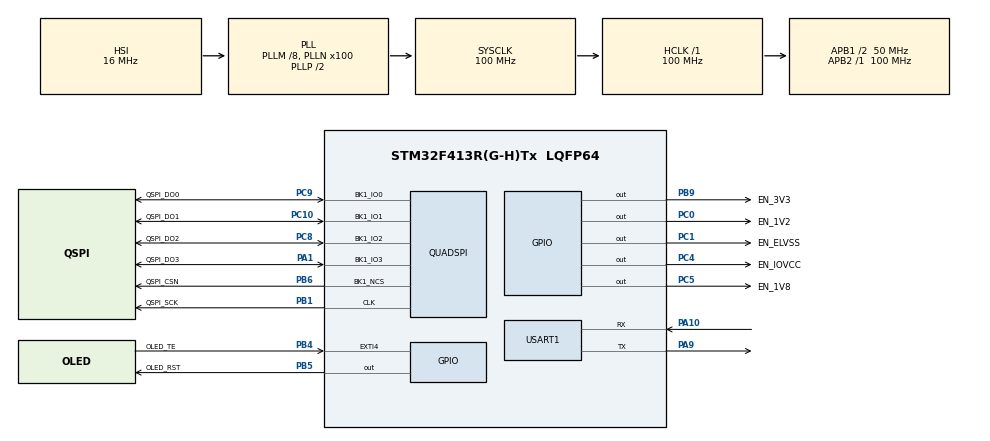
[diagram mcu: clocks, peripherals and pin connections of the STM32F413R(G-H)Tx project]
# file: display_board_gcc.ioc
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Dma.QUADSPI.0.Direction=DMA_MEMORY_TO_PERIPH
Dma.QUADSPI.0.FIFOMode=DMA_FIFOMODE_ENABLE
Dma.QUADSPI.0.FIFOThreshold=DMA_FIFO_THRESHOLD_HALFFULL
Dma.QUADSPI.0.Instance=DMA2_Stream7
Dma.QUADSPI.0.MemBurst=DMA_MBURST_INC4
Dma.QUADSPI.0.MemDataAlignment=DMA_MDATAALIGN_BYTE
Dma.QUADSPI.0.MemInc=DMA_MINC_ENABLE
Dma.QUADSPI.0.Mode=DMA_NORMAL
Dma.QUADSPI.0.PeriphBurst=DMA_PBURST_INC4
Dma.QUADSPI.0.PeriphDataAlignment=DMA_PDATAALIGN_BYTE
Dma.QUADSPI.0.PeriphInc=DMA_PINC_DISABLE
Dma.QUADSPI.0.Priority=DMA_PRIORITY_HIGH
Dma.Request0=QUADSPI
Dma.Request1=USART1_RX
Dma.USART1_RX.1.Direction=DMA_PERIPH_TO_MEMORY
Dma.USART1_RX.1.FIFOMode=DMA_FIFOMODE_DISABLE
Dma.USART1_RX.1.Instance=DMA2_Stream2
Dma.USART1_RX.1.MemDataAlignment=DMA_MDATAALIGN_BYTE
Dma.USART1_RX.1.MemInc=DMA_MINC_ENABLE
Dma.USART1_RX.1.Mode=DMA_CIRCULAR
Dma.USART1_RX.1.PeriphDataAlignment=DMA_PDATAALIGN_BYTE
Dma.USART1_RX.1.PeriphInc=DMA_PINC_DISABLE
Dma.USART1_RX.1.Priority=DMA_PRIORITY_HIGH
Mcu.Family=STM32F4
Mcu.Name=STM32F413R(G-H)Tx
Mcu.Package=LQFP64
NVIC.DMA2_Stream2_IRQn=true\:6\:0\:false\:false\:true\:false\:true\:true
NVIC.DMA2_Stream7_IRQn=true\:2\:0\:false\:false\:true\:false\:true\:true
NVIC.EXTI4_IRQn=true\:1\:0\:false\:false\:true\:true\:true\:true
NVIC.PriorityGroup=NVIC_PRIORITYGROUP_4
NVIC.QUADSPI_IRQn=true\:3\:0\:true\:false\:true\:true\:true\:true
NVIC.USART1_IRQn=true\:6\:0\:false\:false\:true\:true\:true\:true
PA1.GPIO_Label=QSPI_DO3
PA1.Mode=Single Bank 1
PA1.Signal=QUADSPI_BK1_IO3
PA10.Mode=Asynchronous
PA10.Signal=USART1_RX
PA13.Mode=Serial_Wire
PA13.Signal=SYS_JTMS-SWDIO
PA14.Mode=Serial_Wire
PA14.Signal=SYS_JTCK-SWCLK
PA9.Mode=Asynchronous
PA9.Signal=USART1_TX
PB1.GPIO_Label=QSPI_SCK
PB1.Mode=Single Bank 1
PB1.Signal=QUADSPI_CLK
PB4.GPIO_Label=OLED_TE
PB4.GPIO_ModeDefaultEXTI=GPIO_MODE_IT_RISING
PB4.GPIO_PuPd=GPIO_NOPULL
PB4.Signal=GPXTI4
PB5.GPIO_Label=OLED_RST
PB5.GPIO_ModeDefaultOutputPP=GPIO_MODE_OUTPUT_OD
PB5.GPIO_PuPd=GPIO_NOPULL
PB5.GPIO_Speed=GPIO_SPEED_FREQ_VERY_HIGH
PB5.PinState=GPIO_PIN_SET
PB5.Signal=GPIO_Output
PB6.GPIO_Label=QSPI_CSN
PB6.Mode=Single Bank 1
PB6.Signal=QUADSPI_BK1_NCS
PB9.GPIO_Label=EN_3V3
PB9.GPIO_ModeDefaultOutputPP=GPIO_MODE_OUTPUT_PP
PB9.GPIO_PuPd=GPIO_NOPULL
PB9.GPIO_Speed=GPIO_SPEED_FREQ_LOW
PB9.PinState=GPIO_PIN_RESET
PB9.Signal=GPIO_Output
PC0.GPIO_Label=EN_1V2
PC0.Signal=GPIO_Output
PC1.GPIO_Label=EN_ELVSS
PC1.Signal=GPIO_Output
PC10.GPIO_Label=QSPI_DO1
PC10.Mode=Single Bank 1
PC10.Signal=QUADSPI_BK1_IO1
PC4.GPIO_Label=EN_IOVCC
PC4.Signal=GPIO_Output
PC5.GPIO_Label=EN_1V8
PC5.GPIO_ModeDefaultOutputPP=GPIO_MODE_OUTPUT_PP
PC5.GPIO_PuPd=GPIO_NOPULL
PC5.GPIO_Speed=GPIO_SPEED_FREQ_LOW
PC5.PinState=GPIO_PIN_RESET
PC5.Signal=GPIO_Output
PC8.GPIO_Label=QSPI_DO2
PC8.Mode=Single Bank 1
PC8.Signal=QUADSPI_BK1_IO2
PC9.GPIO_Label=QSPI_DO0
PC9.Mode=Single Bank 1
PC9.Signal=QUADSPI_BK1_IO0
ProjectManager.HeapSize=0x200
ProjectManager.StackSize=0x400
ProjectManager.TargetToolchain=CMake
QUADSPI.ChipSelectHighTime=QSPI_CS_HIGH_TIME_8_CYCLE
QUADSPI.ClockPrescaler=1
QUADSPI.FifoThreshold=16
QUADSPI.FlashSize=24
QUADSPI.SampleShifting=QSPI_SAMPLE_SHIFTING_HALFCYCLE
RCC.AHBFreq_Value=100000000
RCC.APB1CLKDivider=RCC_HCLK_DIV2
RCC.APB1Freq_Value=50000000
RCC.APB1TimFreq_Value=100000000
RCC.APB2Freq_Value=100000000
RCC.APB2TimFreq_Value=100000000
RCC.CortexFreq_Value=100000000
RCC.HCLKFreq_Value=100000000
RCC.PLLM=8
RCC.PLLN=100
RCC.SYSCLKFreq_VALUE=100000000
RCC.SYSCLKSource=RCC_SYSCLKSOURCE_PLLCLK
RCC.USBFreq_Value=100000000
RCC.VCOOutputFreq_Value=200000000
USART1.VirtualMode=VM_ASYNC
board=custom

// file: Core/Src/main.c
/* USER CODE BEGIN Header */
/**
  ******************************************************************************
  * @file           : main.c
  * @brief          : Main program body
  ******************************************************************************
  * @attention
  *
  * Copyright (c) 2026 STMicroelectronics.
  * All rights reserved.
  *
  * This software is licensed under terms that can be found in the LICENSE file
  * in the root directory of this software component.
  * If no LICENSE file comes with this software, it is provided AS-IS.
  *
  ******************************************************************************
  */
/* USER CODE END Header */
#include "main.h"
#include "dma.h"
#include "quadspi.h"
#include "usart.h"
#include "gpio.h"

/* USER CODE BEGIN Includes */
#include "ka025vg_oled.h"
#include <string.h>

/* USER CODE END Includes */

/* USER CODE BEGIN PV */
/* DMA 环形接收缓冲：USART1_RX 经 DMA2_Stream2 循环写入，配合空闲中断分帧 */
#define RX_DMA_BUF_SIZE 256U
static uint8_t rx_dma_buf[RX_DMA_BUF_SIZE];
static volatile uint16_t rx_dma_old_pos;
extern DMA_HandleTypeDef hdma_usart1_rx;
/* USER CODE END PV */

void SystemClock_Config(void);

/* USER CODE BEGIN 0 */
#define PROTOCOL_HEAD1      0xA5U
#define PROTOCOL_HEAD2      0x5AU
#define PROTOCOL_TYPE_STATE 0x01U
#define PROTOCOL_PAYLOAD_LEN 37U // 1 (version) + 1 (all_on & brightness) + 27 (digits) + 8 (symbols)
#define PROTOCOL_FRAME_LEN  43U // 2 (head) + 1 (type) + 1 (seq) + 1 (len) + 37 (payload) + 1 (checksum)

static uint8_t rx_buf[PROTOCOL_FRAME_LEN * 2];
static uint16_t rx_len = 0;
static uint8_t parse_and_update_state(void)
{
  uint16_t i = 0;
  while ((rx_len - i) >= PROTOCOL_FRAME_LEN)
  {
    if ((rx_buf[i] == PROTOCOL_HEAD1) && (rx_buf[i+1] == PROTOCOL_HEAD2))
    {
      if (rx_buf[i+2] == PROTOCOL_TYPE_STATE)
      {
        uint8_t payload_len = rx_buf[i+4];
        if (payload_len == PROTOCOL_PAYLOAD_LEN)
        {
          uint8_t checksum = 0;
          for (uint16_t j = 2; j < PROTOCOL_FRAME_LEN - 1; ++j)
          {
            checksum += rx_buf[i + j];
          }
          if (checksum == rx_buf[i + PROTOCOL_FRAME_LEN - 1])
          {
            // 校验通过，提取数据
            uint8_t ctrl = rx_buf[i + 6];
            uint8_t all_on = ctrl & 0x01U;
            uint8_t brightness = (ctrl >> 4U) & 0x0FU;
            uint8_t digits[27];
            (void)memcpy(digits, &rx_buf[i + 7], 27);
            uint64_t symbols = 0;
            for (uint8_t s = 0; s < 8; ++s)
            {
              symbols |= ((uint64_t)rx_buf[i + 34 + s]) << (s * 8);
            }
            KA025VG_UpdateState(digits, symbols, all_on, brightness);

            // 移除已处理的帧及之前的所有无效字节
            rx_len -= (i + PROTOCOL_FRAME_LEN);
            (void)memmove(rx_buf, &rx_buf[i + PROTOCOL_FRAME_LEN], rx_len);
            return 1;
          }
        }
      }
      i++; // 校验和不正确或长度不对，滑动1字节继续寻找包头
    }
    else
    {
      i++;
    }
  }

  if (i > 0)
  {
    rx_len -= i;
    (void)memmove(rx_buf, &rx_buf[i], rx_len);
  }
  return 0;
}

/* 将一段新到字节追加进协议解析缓冲，溢出时丢弃最旧数据保证不死锁 */
static void rx_buf_push(const uint8_t *data, uint16_t length)
{
  for (uint16_t k = 0U; k < length; ++k)
  {
    if (rx_len >= sizeof(rx_buf))
    {
      /* 缓冲满：丢弃最旧 1 字节，滑窗继续，避免整帧因抖动卡死 */
      (void)memmove(rx_buf, &rx_buf[1], rx_len - 1U);
      rx_len--;
    }
    rx_buf[rx_len++] = data[k];
  }
}
/* USER CODE END 0 */

int main(void)
{

  /* MCU Configuration--------------------------------------------------------*/

  /* Reset of all peripherals, Initializes the Flash interface and the Systick. */
  HAL_Init();

  /* Configure the system clock */
  SystemClock_Config();

  /* Initialize all configured peripherals */
  MX_GPIO_Init();
  MX_DMA_Init();
  MX_QUADSPI_Init();
  MX_USART1_UART_Init();
  /* USER CODE BEGIN 2 */
  if (KA025VG_Init(&hqspi) != HAL_OK)
  {
    Error_Handler();
  }

  // 开机先显示全屏测试图案，确认 OLED 初始化和 QSPI 刷新正常
  if (KA025VG_ShowFixedScreen() != HAL_OK)
  {
    Error_Handler();
  }

  // 启动 DMA + 空闲中断接收：DMA 循环填充 rx_dma_buf，空闲/半满/满时触发 RxEventCallback
  rx_dma_old_pos = 0U;
  if (HAL_UARTEx_ReceiveToIdle_DMA(&huart1, rx_dma_buf, RX_DMA_BUF_SIZE) != HAL_OK)
  {
    Error_Handler();
  }
  /* 关闭 DMA 半传输中断，仅在空闲/满传输时处理，减少无谓回调 */
  __HAL_DMA_DISABLE_IT(&hdma_usart1_rx, DMA_IT_HT);
  /* USER CODE END 2 */

  /* Infinite loop */
  while (1)
  {

    /* USER CODE BEGIN 3 */
    if (parse_and_update_state())
    {
      KA025VG_RenderAndShow();
    }
    HAL_Delay(10U);
  }
  /* USER CODE END 3 */
}

void SystemClock_Config(void)
{
  RCC_OscInitTypeDef RCC_OscInitStruct = {0};
  RCC_ClkInitTypeDef RCC_ClkInitStruct = {0};

  /** Configure the main internal regulator output voltage
  */
  __HAL_RCC_PWR_CLK_ENABLE();
  __HAL_PWR_VOLTAGESCALING_CONFIG(PWR_REGULATOR_VOLTAGE_SCALE1);

  /** Initializes the RCC Oscillators according to the specified parameters
  * in the RCC_OscInitTypeDef structure.
  */
  RCC_OscInitStruct.OscillatorType = RCC_OSCILLATORTYPE_HSI;
  RCC_OscInitStruct.HSIState = RCC_HSI_ON;
  RCC_OscInitStruct.HSICalibrationValue = RCC_HSICALIBRATION_DEFAULT;
  RCC_OscInitStruct.PLL.PLLState = RCC_PLL_ON;
  RCC_OscInitStruct.PLL.PLLSource = RCC_PLLSOURCE_HSI;
  RCC_OscInitStruct.PLL.PLLM = 8;
  RCC_OscInitStruct.PLL.PLLN = 100;
  RCC_OscInitStruct.PLL.PLLP = RCC_PLLP_DIV2;
  RCC_OscInitStruct.PLL.PLLQ = 2;
  RCC_OscInitStruct.PLL.PLLR = 2;
  if (HAL_RCC_OscConfig(&RCC_OscInitStruct) != HAL_OK)
  {
    Error_Handler();
  }

  /** Initializes the CPU, AHB and APB buses clocks
  */
  RCC_ClkInitStruct.ClockType = RCC_CLOCKTYPE_HCLK|RCC_CLOCKTYPE_SYSCLK
                              |RCC_CLOCKTYPE_PCLK1|RCC_CLOCKTYPE_PCLK2;
  RCC_ClkInitStruct.SYSCLKSource = RCC_SYSCLKSOURCE_PLLCLK;
  RCC_ClkInitStruct.AHBCLKDivider = RCC_SYSCLK_DIV1;
  RCC_ClkInitStruct.APB1CLKDivider = RCC_HCLK_DIV2;
  RCC_ClkInitStruct.APB2CLKDivider = RCC_HCLK_DIV1;

  if (HAL_RCC_ClockConfig(&RCC_ClkInitStruct, FLASH_LATENCY_3) != HAL_OK)
  {
    Error_Handler();
  }
}

/* USER CODE BEGIN 4 */
/* DMA + 空闲中断接收事件：Size 为 DMA 当前写入位置（累计），按环形差量取出新字节 */
void HAL_UARTEx_RxEventCallback(UART_HandleTypeDef *huart, uint16_t Size)
{
  if (huart->Instance != USART1)
  {
    return;
  }

  if (Size != rx_dma_old_pos)
  {
    if (Size > rx_dma_old_pos)
    {
      /* 未回绕：一段连续数据 */
      rx_buf_push(&rx_dma_buf[rx_dma_old_pos], (uint16_t)(Size - rx_dma_old_pos));
    }
    else
    {
      /* 已回绕：先取尾部，再取头部 */
      rx_buf_push(&rx_dma_buf[rx_dma_old_pos], (uint16_t)(RX_DMA_BUF_SIZE - rx_dma_old_pos));
      if (Size > 0U)
      {
        rx_buf_push(&rx_dma_buf[0], Size);
      }
    }
    rx_dma_old_pos = Size;
  }

  if (rx_dma_old_pos >= RX_DMA_BUF_SIZE)
  {
    rx_dma_old_pos = 0U;
  }
}

void HAL_GPIO_EXTI_Callback(uint16_t GPIO_Pin)
{
  if (GPIO_Pin == OLED_TE_Pin)
  {
    KA025VG_TeInterruptHandler();
  }
}

void HAL_UART_ErrorCallback(UART_HandleTypeDef *huart)
{
  if (huart->Instance == USART1)
  {
    /* 清除溢出/帧/噪声错误标志，否则错误后接收链路会永久停摆 */
    __HAL_UART_CLEAR_OREFLAG(huart);
    __HAL_UART_CLEAR_FEFLAG(huart);
    __HAL_UART_CLEAR_NEFLAG(huart);
    /* 重启 DMA + 空闲中断接收 */
    rx_dma_old_pos = 0U;
    (void)HAL_UARTEx_ReceiveToIdle_DMA(&huart1, rx_dma_buf, RX_DMA_BUF_SIZE);
    __HAL_DMA_DISABLE_IT(&hdma_usart1_rx, DMA_IT_HT);
  }
}

/* USER CODE END 4 */

void Error_Handler(void)
{
  __disable_irq();
  while (1)
  {
  }
}
